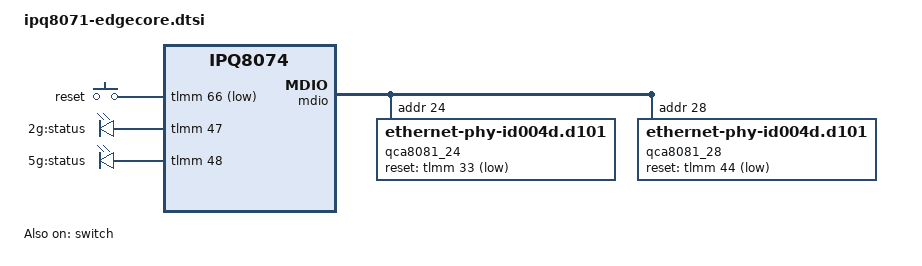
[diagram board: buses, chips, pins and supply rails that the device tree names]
// SPDX-License-Identifier: GPL-2.0-or-later OR MIT

#include "ipq8074.dtsi"
#include "ipq8074-ess.dtsi"
#include "ipq8074-nss.dtsi"
#include "ipq8074-common.dtsi"
#include "ipq8074-ac-cpu.dtsi"

#include <dt-bindings/gpio/gpio.h>
#include <dt-bindings/input/input.h>
#include <dt-bindings/leds/common.h>

/ {
	aliases {
		serial0 = &blsp1_uart5;
		serial1 = &blsp1_uart3;

		led-boot = &led_pw;
		led-failsafe = &led_pw;
		led-running = &led_pw;
		led-upgrade = &led_pw;

		ethernet4 = &dp5;
		ethernet5 = &dp6;

		label-mac-device = &dp6;
	};

	chosen {
		stdout-path = "serial0:115200n8";
		bootargs-append = " root=/dev/ubiblock0_1";
	};

	keys {
		compatible = "gpio-keys";

		reset {
			label = "reset";
			linux,code = <KEY_RESTART>;
			gpios = <&tlmm 66 GPIO_ACTIVE_LOW>;
		};
	};

	leds {
		compatible = "gpio-leds";

		led_2g: 2g {
			label = "2g:status";
			gpios = <&tlmm 47 GPIO_ACTIVE_HIGH>;
		};

		led_5g: 5g {
			label = "5g:status";
			gpios = <&tlmm 48 GPIO_ACTIVE_HIGH>;
		};
	};
};

&tlmm {
	usb_mux_sel_pins: usb-mux-sel-pins {
		pins = "gpio27";
		function = "gpio";
		drive-strength = <8>;
		bias-pull-down;
	};
};

&mdio {
	status = "okay";

	pinctrl-0 = <&mdio_pins>;
	pinctrl-names = "default";

	qca8081_24: ethernet-phy@24 {
		compatible = "ethernet-phy-id004d.d101";
		reg = <24>;
		reset-deassert-us = <10000>;
		reset-gpios = <&tlmm 33 GPIO_ACTIVE_LOW>;
	};

	qca8081_28: ethernet-phy@28 {
		compatible = "ethernet-phy-id004d.d101";
		reg = <28>;
		reset-deassert-us = <10000>;
		reset-gpios = <&tlmm 44 GPIO_ACTIVE_LOW>;
	};
};

&switch {
	status = "okay";

	switch_lan_bmp = <ESS_PORT5>;
	switch_wan_bmp = <ESS_PORT6>;
	switch_mac_mode1 = <MAC_MODE_SGMII_PLUS>;
	switch_mac_mode2 = <MAC_MODE_SGMII_PLUS>;

	qcom,port_phyinfo {
		port@5 {
			port_id = <5>;
			phy_address = <24>;
			port_mac_sel = "QGMAC_PORT";
		};

		port@6 {
			port_id = <6>;
			phy_address = <28>;
			port_mac_sel = "QGMAC_PORT";
		};
	};
};

&edma {
	status = "okay";
};
